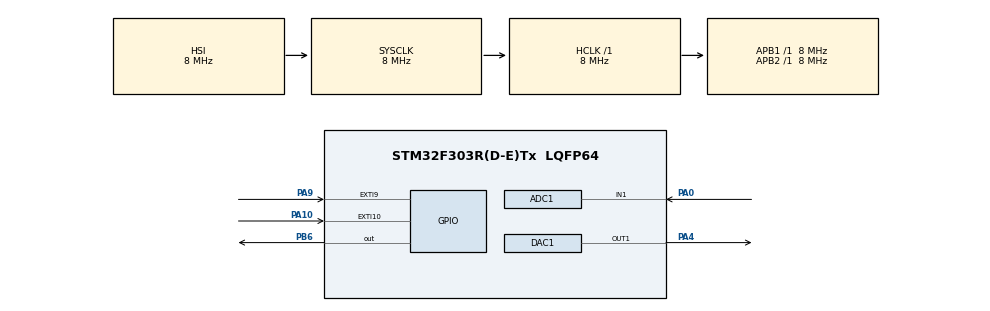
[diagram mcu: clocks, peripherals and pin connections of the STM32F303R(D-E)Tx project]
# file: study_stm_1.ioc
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ADC1.Channel-0\#ChannelRegularConversion=ADC_CHANNEL_1
ADC1.NbrOfConversionFlag=1
ADC1.Offset-0\#ChannelRegularConversion=0
ADC1.OffsetNumber-0\#ChannelRegularConversion=ADC_OFFSET_NONE
ADC1.Rank-0\#ChannelRegularConversion=1
ADC1.SamplingTime-0\#ChannelRegularConversion=ADC_SAMPLETIME_19CYCLES_5
ADC1.master=1
Mcu.Family=STM32F3
Mcu.Name=STM32F303R(D-E)Tx
Mcu.Package=LQFP64
NVIC.EXTI15_10_IRQn=true\:0\:0\:false\:false\:true\:true\:true\:true
NVIC.EXTI9_5_IRQn=true\:0\:0\:false\:false\:true\:true\:true\:true
NVIC.PriorityGroup=NVIC_PRIORITYGROUP_4
NVIC.TIM1_UP_TIM16_IRQn=true\:0\:0\:false\:false\:true\:true\:true\:true
NVIC.TIM2_IRQn=true\:0\:0\:false\:false\:true\:true\:true\:true
NVIC.TIM4_IRQn=true\:0\:0\:false\:false\:true\:true\:true\:true
PA0.Mode=IN1-Single-Ended
PA0.Signal=ADC1_IN1
PA10.GPIO_PuPd=GPIO_PULLDOWN
PA10.Signal=GPXTI10
PA13.Mode=Serial_Wire
PA13.Signal=SYS_JTMS-SWDIO
PA14.Mode=Serial_Wire
PA14.Signal=SYS_JTCK-SWCLK
PA4.Signal=COMP_DAC11_group
PA9.GPIO_PuPd=GPIO_PULLDOWN
PA9.Signal=GPXTI9
PB6.Signal=GPIO_Output
PF0-OSC_IN.Mode=HSE-External-Oscillator
PF0-OSC_IN.Signal=RCC_OSC_IN
PF1-OSC_OUT.Mode=HSE-External-Oscillator
PF1-OSC_OUT.Signal=RCC_OSC_OUT
ProjectManager.HeapSize=0x200
ProjectManager.StackSize=0x400
ProjectManager.TargetToolchain=STM32CubeIDE
RCC.ADC12PRES=RCC_ADC12PLLCLK_DIV2
RCC.AHBFreq_Value=8000000
RCC.APB1Freq_Value=8000000
RCC.APB1TimFreq_Value=8000000
RCC.APB2Freq_Value=8000000
RCC.APB2TimFreq_Value=8000000
RCC.CortexFreq_Value=8000000
RCC.HCLKFreq_Value=8000000
RCC.HSE_VALUE=8000000
RCC.HSI_VALUE=8000000
RCC.LSE_VALUE=32768
RCC.SYSCLKFreq_VALUE=8000000
RCC.USBFreq_Value=16000000
SH.COMP_DAC11_group.0=DAC1_OUT1,DAC_OUT1
TIM1.Period=500
TIM1.Prescaler=7
TIM2.Period=6000
TIM2.Prescaler=359
TIM4.Period=6000
TIM4.Prescaler=359
VP_TIM1_VS_ClockSourceINT.Mode=Internal
VP_TIM2_VS_ClockSourceINT.Mode=Internal
VP_TIM4_VS_ClockSourceINT.Mode=Internal
board=custom

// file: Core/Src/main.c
/* USER CODE BEGIN Header */
/**
  ******************************************************************************
  * @file           : main.c
  * @brief          : Main program body
  ******************************************************************************
  * @attention
  *
  * Copyright (c) 2025 STMicroelectronics.
  * All rights reserved.
  *
  * This software is licensed under terms that can be found in the LICENSE file
  * in the root directory of this software component.
  * If no LICENSE file comes with this software, it is provided AS-IS.
  *
  ******************************************************************************
  */
/* USER CODE END Header */
#include "main.h"

/* USER CODE BEGIN Includes */
#include "string.h"
#include <stdio.h>
/* USER CODE END Includes */

/* USER CODE BEGIN PTD */
typedef unsigned char byte;
typedef unsigned short ust;
/* USER CODE END PTD */

ADC_HandleTypeDef hadc1;

DAC_HandleTypeDef hdac1;

TIM_HandleTypeDef htim1;
TIM_HandleTypeDef htim2;
TIM_HandleTypeDef htim4;

/* USER CODE BEGIN PV */
/*char trans_str[64] = {0,};
ust adc_value = 0;
ust dac_value = 0;
byte end_transmit = 0;
byte k = 0;
byte n = 0;
byte times = 1;
uint32_t all = 0;
ust adc_array[1000];
ust i = 0;
byte m = 0;
ust amplitude = 0;
ust max = 0;
byte period = 1;
byte flag_const = 0;

uint32_t all_setup = 0;
byte setup_period = 5;
*/

//второе задание

const float pi = 3.1416;

ust amplitude = 0;//2000;
byte inc = 0;
byte times = 1;
byte sq = 60;
unsigned long all = 0;
unsigned long all_gen = 0;
uint32_t dac_value = 0;
short adc_array[1000];
byte n = 0;
byte method = 1;
uint32_t adc_value = 0;
ust i = 0;
byte calculate_flag = 0;
double check = 0;
byte amp_up_flag = 0;
byte freq_up_flag = 0;
uint32_t dr = 0;

uint32_t zeta = 0;
/* USER CODE END PV */

void SystemClock_Config(void);
static void MX_GPIO_Init(void);
static void MX_DAC1_Init(void);
static void MX_ADC1_Init(void);
static void MX_TIM2_Init(void);
static void MX_TIM1_Init(void);
static void MX_TIM4_Init(void);

/* USER CODE BEGIN 0 */

//возведение в степень
double raiseToPow(double x, int power)
{
    double result;
    result = 1.0;
    for (byte i = 1; i <= power;i++)
    {
        result*=x;
    }
    return(result);
}

//вычисление синуса
double sin(double x){
	float res = x - raiseToPow(x, 3) / 6 + raiseToPow(x, 5) / 120 - raiseToPow(x, 7) / 5040;
	return res;
}

//моргание светодиодами для первого задания
/*
int take_gpio(){
	if (all % times == 0 && !flag_const){//прореживание в зависимости от периода сигнала, поступающего на ADC
		HAL_GPIO_WritePin(GPIOA, GPIO_PIN_5, GPIO_PIN_RESET);
		HAL_GPIO_WritePin(GPIOA, GPIO_PIN_6, GPIO_PIN_RESET);
		HAL_GPIO_WritePin(GPIOA, GPIO_PIN_7, GPIO_PIN_RESET);
		HAL_GPIO_WritePin(GPIOB, GPIO_PIN_6, GPIO_PIN_RESET);
		switch(end_transmit){
			case 0:
				break;
			case 1:
				if (k == 0){
					HAL_GPIO_WritePin(GPIOA, GPIO_PIN_5, GPIO_PIN_RESET);
					k = 1;
				}
				else {
					HAL_GPIO_WritePin(GPIOA, GPIO_PIN_5, GPIO_PIN_SET);
					k = 0;
				}
				break;
			case 2:
				if (k == 0){
					HAL_GPIO_WritePin(GPIOA, GPIO_PIN_5, GPIO_PIN_RESET);
					HAL_GPIO_WritePin(GPIOA, GPIO_PIN_6, GPIO_PIN_RESET);
					k = 1;
				}
				else {
					HAL_GPIO_WritePin(GPIOA, GPIO_PIN_5, GPIO_PIN_SET);
					HAL_GPIO_WritePin(GPIOA, GPIO_PIN_6, GPIO_PIN_SET);
					k = 0;
				}
				break;
			case 3:
				if (k == 0){
					HAL_GPIO_WritePin(GPIOA, GPIO_PIN_5, GPIO_PIN_RESET);
					HAL_GPIO_WritePin(GPIOA, GPIO_PIN_6, GPIO_PIN_RESET);
					HAL_GPIO_WritePin(GPIOA, GPIO_PIN_7, GPIO_PIN_RESET);
					k = 1;
				}
				else {
					HAL_GPIO_WritePin(GPIOA, GPIO_PIN_5, GPIO_PIN_SET);
					HAL_GPIO_WritePin(GPIOA, GPIO_PIN_6, GPIO_PIN_SET);
					HAL_GPIO_WritePin(GPIOA, GPIO_PIN_7, GPIO_PIN_SET);
					k = 0;
				}
				break;
			case 4:
				if (k == 0){
					HAL_GPIO_WritePin(GPIOA, GPIO_PIN_5, GPIO_PIN_RESET);
					HAL_GPIO_WritePin(GPIOA, GPIO_PIN_6, GPIO_PIN_RESET);
					HAL_GPIO_WritePin(GPIOA, GPIO_PIN_7, GPIO_PIN_RESET);
					HAL_GPIO_WritePin(GPIOB, GPIO_PIN_6, GPIO_PIN_RESET);
					k = 1;
				}
				else {
					HAL_GPIO_WritePin(GPIOA, GPIO_PIN_5, GPIO_PIN_SET);
					HAL_GPIO_WritePin(GPIOA, GPIO_PIN_6, GPIO_PIN_SET);
					HAL_GPIO_WritePin(GPIOA, GPIO_PIN_7, GPIO_PIN_SET);
					HAL_GPIO_WritePin(GPIOB, GPIO_PIN_6, GPIO_PIN_SET);
					k = 0;
				}
				break;
		}
	}
	else if (flag_const) {
		switch(end_transmit){
			case 0:
				break;
			case 1:
				HAL_GPIO_WritePin(GPIOA, GPIO_PIN_5, GPIO_PIN_SET);
				break;
			case 2:
				HAL_GPIO_WritePin(GPIOA, GPIO_PIN_5, GPIO_PIN_SET);
				HAL_GPIO_WritePin(GPIOA, GPIO_PIN_6, GPIO_PIN_SET);
				break;
			case 3:
				HAL_GPIO_WritePin(GPIOA, GPIO_PIN_5, GPIO_PIN_SET);
				HAL_GPIO_WritePin(GPIOA, GPIO_PIN_6, GPIO_PIN_SET);
				HAL_GPIO_WritePin(GPIOA, GPIO_PIN_7, GPIO_PIN_SET);
				break;
			case 4:
				HAL_GPIO_WritePin(GPIOA, GPIO_PIN_5, GPIO_PIN_SET);
				HAL_GPIO_WritePin(GPIOA, GPIO_PIN_6, GPIO_PIN_SET);
				HAL_GPIO_WritePin(GPIOA, GPIO_PIN_7, GPIO_PIN_SET);
				HAL_GPIO_WritePin(GPIOB, GPIO_PIN_6, GPIO_PIN_SET);
				break;
		}
	}
	all++;
	return 0;
}

//установка значений на ЦАП для первого задания
int take_dac_1(){
	if (all_setup % setup_period == 0){
		HAL_DAC_Start(&hdac1, DAC_CHANNEL_1);
		HAL_DAC_SetValue(&hdac1, DAC_CHANNEL_1, DAC_ALIGN_12B_R, dac_value);
		if (n == 0){	//производство переменного сигнала
			dac_value = 3500;
			n = 1;
		}
		else{
			dac_value = 0;
			n = 0;
		}
	}
	all_setup++;
	return 0;
}*/
void HAL_GPIO_EXTI_Callback(uint16_t GPIO_Pin)
{
   if(GPIO_Pin == GPIO_PIN_9) // если прерывание поступило от ножки PA9
   {
       if(freq_up_flag == 1){
    	   if (method == 3) method = 1;
    	   else method++;
       }
       else {
	       HAL_NVIC_DisableIRQ(EXTI9_5_IRQn); // сразу же отключаем прерывания на этом пине
		   if(amplitude == 2000)amplitude = 0;
		   amplitude += 100;
	       amp_up_flag = 1;
	       HAL_TIM_Base_Start_IT(&htim2); // запускаем таймер
       }
   }
   if(GPIO_Pin == GPIO_PIN_10){
	   if(amp_up_flag == 1){
		   if (method == 3) method = 1;
	       else method++;
	   }
	   else {
	       HAL_NVIC_DisableIRQ(EXTI15_10_IRQn);
		   if (times == 10) times = 0;
		   times += 1;
		   freq_up_flag = 1;
	       HAL_TIM_Base_Start_IT(&htim4);
	   }
   }
}

void HAL_TIM_PeriodElapsedCallback(TIM_HandleTypeDef *htim){
	if (htim->Instance == TIM4){
	    HAL_TIM_Base_Stop_IT(&htim4); // останавливаем таймер
	    __HAL_GPIO_EXTI_CLEAR_IT(GPIO_PIN_10);
	    NVIC_ClearPendingIRQ(EXTI15_10_IRQn);
	    HAL_NVIC_EnableIRQ(EXTI15_10_IRQn);
		freq_up_flag = 0;
	}
	if (htim->Instance == TIM2){
	    HAL_TIM_Base_Stop_IT(&htim2); // останавливаем таймер
	    __HAL_GPIO_EXTI_CLEAR_IT(GPIO_PIN_9);  // очищаем бит EXTI_PR (бит прерывания)
	    NVIC_ClearPendingIRQ(EXTI9_5_IRQn); // очищаем бит NVIC_ICPRx (бит очереди)
	    HAL_NVIC_EnableIRQ(EXTI9_5_IRQn);   // включаем внешнее прерывание
	    amp_up_flag = 0;
	}
	if (htim->Instance == TIM1){
		if (all_gen % times == 0){
			switch(method){
				//синус
				case 1:
					if (inc == 120) inc = 0;	//проверка, что прошел полный оборот
					double x = (inc * pi) / 60;
					dac_value = amplitude + (amplitude * sin(x)) / 1;
					inc++;
					break;
				//меандр
				case 2:
					if (all % sq == 0){	//прореживание для совпадения периодов синусоиды и меандра
						if (n == 0){
							dac_value = 2*amplitude;
							n = 1;
						}
						else if (n == 1){
							dac_value = 0;
							n = 0;
						}
					}
					break;
				//постоянка
				case 3:
					dac_value = amplitude;
					break;
			}
			HAL_DAC_Start(&hdac1, DAC_CHANNEL_1);
			HAL_DAC_SetValue(&hdac1, DAC_CHANNEL_1, DAC_ALIGN_12B_R, dac_value);
			all++;
		}
		all_gen++; //счетчик для прореживания

	}
}
/* USER CODE END 0 */

int main(void)
{

  /* MCU Configuration--------------------------------------------------------*/

  /* Reset of all peripherals, Initializes the Flash interface and the Systick. */
  HAL_Init();

  /* Configure the system clock */
  SystemClock_Config();

  /* Initialize all configured peripherals */
  MX_GPIO_Init();
  MX_DAC1_Init();
  MX_ADC1_Init();
  MX_TIM2_Init();
  MX_TIM1_Init();
  MX_TIM4_Init();
  /* USER CODE BEGIN 2 */
  HAL_TIM_Base_Start_IT(&htim1);
  /* USER CODE END 2 */

  /* Infinite loop */
  /* USER CODE BEGIN WHILE */
  while (1)
  {
	  //код для первого задания
	  /*HAL_ADC_Start(&hadc1);
	  HAL_ADC_PollForConversion(&hadc1, 100);
	  adc_value = HAL_ADC_GetValue(&hadc1);
	  adc_array[i] = adc_value;
	  i++;
	  if (i == 100){//происходит анализ массива, полученного с DAC
		  for (int j = 0; j < 99; j++ ){
			  if (adc_array[j] > max){	//поиск предельного напряжения
				  max = adc_array[j];
			  }
			  if (adc_array[j] < 20 && m == 0 && adc_array[j-1] > 20){	//проверка на наличие спада
				  m++;
				  period = j;
			  }
			  else if(adc_array[j] > 20 && m == 1 && adc_array[j-1] < 20){ //проверка на наличиие подъема
				  m ++;	//благодаря этой переменной период вычисляется лишь раз
				  period = j - period;

			  }

		  }
		  if (m == 1 || m == 0) flag_const = 1;	//проверка того, что сигнал имеет период
		  m = 0;
		  amplitude = max;
		  times = period;
		  i = 0;
	  }
	  if (amplitude > 0 && amplitude <= 1000) end_transmit = 1;
	  else if (amplitude > 1000 && amplitude <= 2000) end_transmit = 2;
	  else if (amplitude > 2000 && amplitude <= 3000) end_transmit = 3;
	  else if (amplitude > 3000 && amplitude <= 4000) end_transmit = 4;
	  HAL_Delay(10);*/
	  HAL_ADC_Start(&hadc1);
	  HAL_ADC_PollForConversion(&hadc1, 100);
	  adc_value = HAL_ADC_GetValue(&hadc1);
	  adc_array[i] = adc_value;
	  i++;
	  if (i == 1000)i = 0;
	  HAL_Delay(5);

    /* USER CODE END WHILE */

  }
}

void SystemClock_Config(void)
{
  RCC_OscInitTypeDef RCC_OscInitStruct = {0};
  RCC_ClkInitTypeDef RCC_ClkInitStruct = {0};
  RCC_PeriphCLKInitTypeDef PeriphClkInit = {0};

  /** Initializes the RCC Oscillators according to the specified parameters
  * in the RCC_OscInitTypeDef structure.
  */
  RCC_OscInitStruct.OscillatorType = RCC_OSCILLATORTYPE_HSI;
  RCC_OscInitStruct.HSIState = RCC_HSI_ON;
  RCC_OscInitStruct.HSICalibrationValue = RCC_HSICALIBRATION_DEFAULT;
  RCC_OscInitStruct.PLL.PLLState = RCC_PLL_ON;
  RCC_OscInitStruct.PLL.PLLSource = RCC_PLLSOURCE_HSI;
  RCC_OscInitStruct.PLL.PLLMUL = RCC_PLL_MUL2;
  RCC_OscInitStruct.PLL.PREDIV = RCC_PREDIV_DIV1;
  if (HAL_RCC_OscConfig(&RCC_OscInitStruct) != HAL_OK)
  {
    Error_Handler();
  }

  /** Initializes the CPU, AHB and APB buses clocks
  */
  RCC_ClkInitStruct.ClockType = RCC_CLOCKTYPE_HCLK|RCC_CLOCKTYPE_SYSCLK
                              |RCC_CLOCKTYPE_PCLK1|RCC_CLOCKTYPE_PCLK2;
  RCC_ClkInitStruct.SYSCLKSource = RCC_SYSCLKSOURCE_HSI;
  RCC_ClkInitStruct.AHBCLKDivider = RCC_SYSCLK_DIV1;
  RCC_ClkInitStruct.APB1CLKDivider = RCC_HCLK_DIV1;
  RCC_ClkInitStruct.APB2CLKDivider = RCC_HCLK_DIV1;

  if (HAL_RCC_ClockConfig(&RCC_ClkInitStruct, FLASH_LATENCY_0) != HAL_OK)
  {
    Error_Handler();
  }
  PeriphClkInit.PeriphClockSelection = RCC_PERIPHCLK_TIM1|RCC_PERIPHCLK_ADC12
                              |RCC_PERIPHCLK_TIM2|RCC_PERIPHCLK_TIM34;
  PeriphClkInit.Adc12ClockSelection = RCC_ADC12PLLCLK_DIV2;
  PeriphClkInit.Tim1ClockSelection = RCC_TIM1CLK_HCLK;
  PeriphClkInit.Tim2ClockSelection = RCC_TIM2CLK_HCLK;
  PeriphClkInit.Tim34ClockSelection = RCC_TIM34CLK_HCLK;
  if (HAL_RCCEx_PeriphCLKConfig(&PeriphClkInit) != HAL_OK)
  {
    Error_Handler();
  }
}

static void MX_ADC1_Init(void)
{

  ADC_MultiModeTypeDef multimode = {0};
  ADC_ChannelConfTypeDef sConfig = {0};

  /** Common config
  */
  hadc1.Instance = ADC1;
  hadc1.Init.ClockPrescaler = ADC_CLOCK_ASYNC_DIV1;
  hadc1.Init.Resolution = ADC_RESOLUTION_12B;
  hadc1.Init.ScanConvMode = ADC_SCAN_DISABLE;
  hadc1.Init.ContinuousConvMode = DISABLE;
  hadc1.Init.DiscontinuousConvMode = DISABLE;
  hadc1.Init.ExternalTrigConvEdge = ADC_EXTERNALTRIGCONVEDGE_NONE;
  hadc1.Init.ExternalTrigConv = ADC_SOFTWARE_START;
  hadc1.Init.DataAlign = ADC_DATAALIGN_RIGHT;
  hadc1.Init.NbrOfConversion = 1;
  hadc1.Init.DMAContinuousRequests = DISABLE;
  hadc1.Init.EOCSelection = ADC_EOC_SINGLE_CONV;
  hadc1.Init.LowPowerAutoWait = DISABLE;
  hadc1.Init.Overrun = ADC_OVR_DATA_OVERWRITTEN;
  if (HAL_ADC_Init(&hadc1) != HAL_OK)
  {
    Error_Handler();
  }

  /** Configure the ADC multi-mode
  */
  multimode.Mode = ADC_MODE_INDEPENDENT;
  if (HAL_ADCEx_MultiModeConfigChannel(&hadc1, &multimode) != HAL_OK)
  {
    Error_Handler();
  }

  /** Configure Regular Channel
  */
  sConfig.Channel = ADC_CHANNEL_1;
  sConfig.Rank = ADC_REGULAR_RANK_1;
  sConfig.SingleDiff = ADC_SINGLE_ENDED;
  sConfig.SamplingTime = ADC_SAMPLETIME_19CYCLES_5;
  sConfig.OffsetNumber = ADC_OFFSET_NONE;
  sConfig.Offset = 0;
  if (HAL_ADC_ConfigChannel(&hadc1, &sConfig) != HAL_OK)
  {
    Error_Handler();
  }

}

static void MX_DAC1_Init(void)
{

  DAC_ChannelConfTypeDef sConfig = {0};

  /** DAC Initialization
  */
  hdac1.Instance = DAC1;
  if (HAL_DAC_Init(&hdac1) != HAL_OK)
  {
    Error_Handler();
  }

  /** DAC channel OUT1 config
  */
  sConfig.DAC_Trigger = DAC_TRIGGER_NONE;
  sConfig.DAC_OutputBuffer = DAC_OUTPUTBUFFER_ENABLE;
  if (HAL_DAC_ConfigChannel(&hdac1, &sConfig, DAC_CHANNEL_1) != HAL_OK)
  {
    Error_Handler();
  }

}

static void MX_TIM1_Init(void)
{

  TIM_ClockConfigTypeDef sClockSourceConfig = {0};
  TIM_MasterConfigTypeDef sMasterConfig = {0};

  htim1.Instance = TIM1;
  htim1.Init.Prescaler = 7;
  htim1.Init.CounterMode = TIM_COUNTERMODE_UP;
  htim1.Init.Period = 500;
  htim1.Init.ClockDivision = TIM_CLOCKDIVISION_DIV1;
  htim1.Init.RepetitionCounter = 0;
  htim1.Init.AutoReloadPreload = TIM_AUTORELOAD_PRELOAD_DISABLE;
  if (HAL_TIM_Base_Init(&htim1) != HAL_OK)
  {
    Error_Handler();
  }
  sClockSourceConfig.ClockSource = TIM_CLOCKSOURCE_INTERNAL;
  if (HAL_TIM_ConfigClockSource(&htim1, &sClockSourceConfig) != HAL_OK)
  {
    Error_Handler();
  }
  sMasterConfig.MasterOutputTrigger = TIM_TRGO_RESET;
  sMasterConfig.MasterOutputTrigger2 = TIM_TRGO2_RESET;
  sMasterConfig.MasterSlaveMode = TIM_MASTERSLAVEMODE_DISABLE;
  if (HAL_TIMEx_MasterConfigSynchronization(&htim1, &sMasterConfig) != HAL_OK)
  {
    Error_Handler();
  }

}

static void MX_TIM2_Init(void)
{

  TIM_ClockConfigTypeDef sClockSourceConfig = {0};
  TIM_MasterConfigTypeDef sMasterConfig = {0};

  htim2.Instance = TIM2;
  htim2.Init.Prescaler = 359;
  htim2.Init.CounterMode = TIM_COUNTERMODE_UP;
  htim2.Init.Period = 6000;
  htim2.Init.ClockDivision = TIM_CLOCKDIVISION_DIV1;
  htim2.Init.AutoReloadPreload = TIM_AUTORELOAD_PRELOAD_DISABLE;
  if (HAL_TIM_Base_Init(&htim2) != HAL_OK)
  {
    Error_Handler();
  }
  sClockSourceConfig.ClockSource = TIM_CLOCKSOURCE_INTERNAL;
  if (HAL_TIM_ConfigClockSource(&htim2, &sClockSourceConfig) != HAL_OK)
  {
    Error_Handler();
  }
  sMasterConfig.MasterOutputTrigger = TIM_TRGO_RESET;
  sMasterConfig.MasterSlaveMode = TIM_MASTERSLAVEMODE_DISABLE;
  if (HAL_TIMEx_MasterConfigSynchronization(&htim2, &sMasterConfig) != HAL_OK)
  {
    Error_Handler();
  }

}

static void MX_TIM4_Init(void)
{

  TIM_ClockConfigTypeDef sClockSourceConfig = {0};
  TIM_MasterConfigTypeDef sMasterConfig = {0};

  htim4.Instance = TIM4;
  htim4.Init.Prescaler = 359;
  htim4.Init.CounterMode = TIM_COUNTERMODE_UP;
  htim4.Init.Period = 6000;
  htim4.Init.ClockDivision = TIM_CLOCKDIVISION_DIV1;
  htim4.Init.AutoReloadPreload = TIM_AUTORELOAD_PRELOAD_DISABLE;
  if (HAL_TIM_Base_Init(&htim4) != HAL_OK)
  {
    Error_Handler();
  }
  sClockSourceConfig.ClockSource = TIM_CLOCKSOURCE_INTERNAL;
  if (HAL_TIM_ConfigClockSource(&htim4, &sClockSourceConfig) != HAL_OK)
  {
    Error_Handler();
  }
  sMasterConfig.MasterOutputTrigger = TIM_TRGO_RESET;
  sMasterConfig.MasterSlaveMode = TIM_MASTERSLAVEMODE_DISABLE;
  if (HAL_TIMEx_MasterConfigSynchronization(&htim4, &sMasterConfig) != HAL_OK)
  {
    Error_Handler();
  }

}

static void MX_GPIO_Init(void)
{
  GPIO_InitTypeDef GPIO_InitStruct = {0};

  /* GPIO Ports Clock Enable */
  __HAL_RCC_GPIOF_CLK_ENABLE();
  __HAL_RCC_GPIOA_CLK_ENABLE();
  __HAL_RCC_GPIOB_CLK_ENABLE();

  /*Configure GPIO pin Output Level */
  HAL_GPIO_WritePin(GPIOB, GPIO_PIN_6, GPIO_PIN_RESET);

  /*Configure GPIO pins : PA9 PA10 */
  GPIO_InitStruct.Pin = GPIO_PIN_9|GPIO_PIN_10;
  GPIO_InitStruct.Mode = GPIO_MODE_IT_RISING;
  GPIO_InitStruct.Pull = GPIO_PULLDOWN;
  HAL_GPIO_Init(GPIOA, &GPIO_InitStruct);

  /*Configure GPIO pin : PB6 */
  GPIO_InitStruct.Pin = GPIO_PIN_6;
  GPIO_InitStruct.Mode = GPIO_MODE_OUTPUT_PP;
  GPIO_InitStruct.Pull = GPIO_NOPULL;
  GPIO_InitStruct.Speed = GPIO_SPEED_FREQ_LOW;
  HAL_GPIO_Init(GPIOB, &GPIO_InitStruct);

  /* EXTI interrupt init*/
  HAL_NVIC_SetPriority(EXTI9_5_IRQn, 0, 0);
  HAL_NVIC_EnableIRQ(EXTI9_5_IRQn);

  HAL_NVIC_SetPriority(EXTI15_10_IRQn, 0, 0);
  HAL_NVIC_EnableIRQ(EXTI15_10_IRQn);

}

void Error_Handler(void)
{
  __disable_irq();
  while (1)
  {
  }
}
